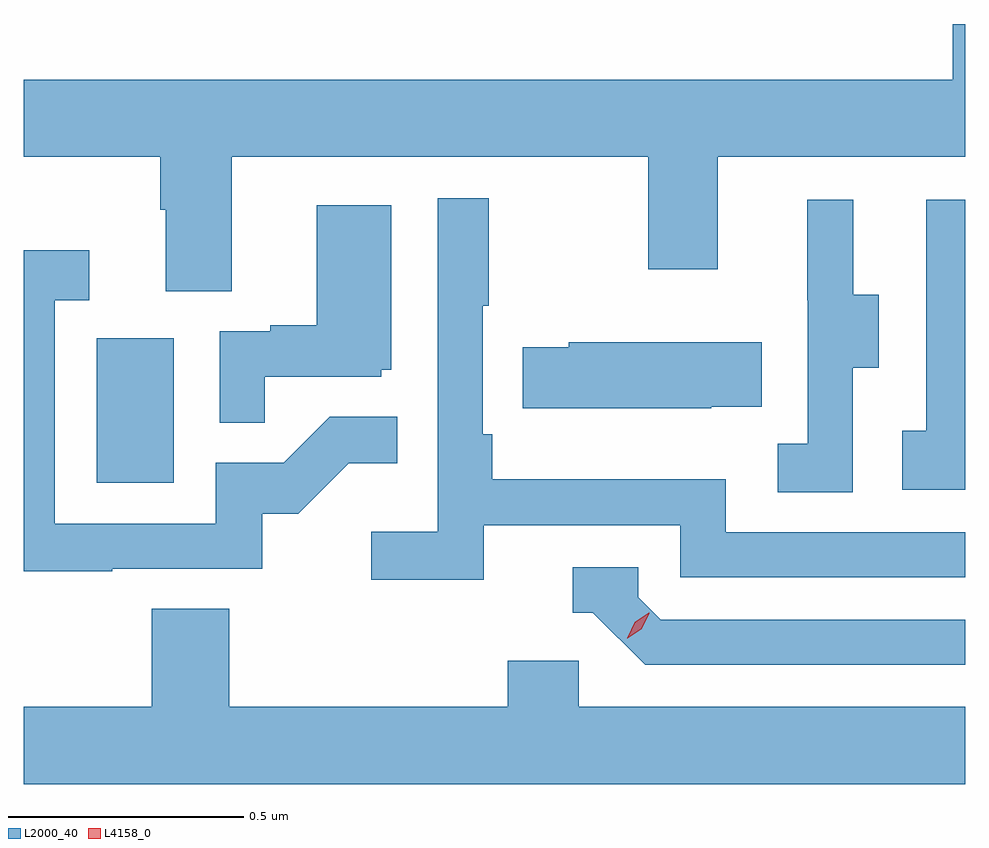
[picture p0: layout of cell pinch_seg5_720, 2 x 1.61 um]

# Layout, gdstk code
import gdstk
lib = gdstk.Library(unit=1e-6, precision=1e-09)
def R(c, l, rs):  # rectangles x0, y0, x1, y1
    for r in rs: c.add(gdstk.rectangle(r[:2], r[2:], *l))
def P(c, l, *ps):  # polygons
    for p in ps: c.add(gdstk.Polygon(p, *l))
L2000_40 = (2000, 40)
L4158_0 = (4158, 0)

pinch_seg5_720 = lib.new_cell('pinch_seg5_720')
R(pinch_seg5_720, L2000_40, [(1084.622,845.412,1084.786,845.719)])
P(pinch_seg5_720, L2000_40, [(1084.909,846.104),(1085.794,846.104),(1085.794,845.865),(1085.941,845.865),(1085.941,846.104),(1086.467,846.104),(1086.467,846.386),(1086.44,846.386),(1086.44,846.268),(1084.467,846.268),(1084.467,846.104),(1084.757,846.104),(1084.757,845.992),(1084.769,845.992),(1084.769,845.818),(1084.909,845.818)],
  [(1085.444,845.322),(1085.862,845.322),(1085.862,845.211),(1086.467,845.211),(1086.467,845.307),(1085.958,845.307),(1085.958,845.419),(1085.462,845.419),(1085.462,845.515),(1085.442,845.515),(1085.442,845.788),(1085.455,845.788),(1085.455,846.016),(1085.346,846.016),(1085.346,845.308),(1085.205,845.308),(1085.205,845.206),(1085.444,845.206)],
  [(1086.467,846.013),(1086.384,846.013),(1086.384,845.522),(1086.333,845.522),(1086.333,845.397),(1086.467,845.397)],
  [(1086.228,845.656),(1086.283,845.656),(1086.283,845.811),(1086.229,845.811),(1086.229,846.013),(1086.131,846.013),(1086.131,845.799),(1086.132,845.799),(1086.132,845.495),(1086.069,845.495),(1086.069,845.392),(1086.228,845.392)],
  [(1084.979,845.637),(1085.226,845.637),(1085.226,845.652),(1085.248,845.652),(1085.248,846.001),(1085.09,846.001),(1085.09,845.746),(1084.991,845.746),(1084.991,845.733),(1084.884,845.733),(1084.884,845.539),(1084.979,845.539)],
  [(1084.655,845.229),(1084.974,845.229),(1084.974,845.346),(1085.05,845.346),(1085.157,845.453),(1085.261,845.453),(1085.261,845.552),(1085.117,845.552),(1085.019,845.454),(1084.875,845.454),(1084.875,845.325),(1084.533,845.325),(1084.533,845.799),(1084.606,845.799),(1084.606,845.905),(1084.467,845.905),(1084.467,845.224),(1084.655,845.224)],
  [(1085.927,845.573),(1086.035,845.573),(1086.035,845.71),(1085.625,845.71),(1085.625,845.7),(1085.527,845.7),(1085.527,845.57),(1085.927,845.57)],
  [(1086.467,845.121),(1085.82,845.121),(1085.772,845.169),(1085.772,845.232),(1085.633,845.232),(1085.633,845.136),(1085.676,845.136),(1085.787,845.025),(1086.467,845.025)],
  [(1086.467,844.936),(1085.646,844.936),(1085.646,845.034),(1085.495,845.034),(1085.495,844.936),(1084.904,844.936),(1084.904,845.144),(1084.739,845.144),(1084.739,844.936),(1084.467,844.936),(1084.467,844.772),(1086.467,844.772)])
P(pinch_seg5_720, L4158_0, [(1085.749,845.082),(1085.749,845.082),(1085.765,845.115),(1085.795,845.136),(1085.796,845.136),(1085.796,845.135),(1085.78,845.102),(1085.75,845.082)])

lib.write_gds('pinch_seg5_720.gds')
